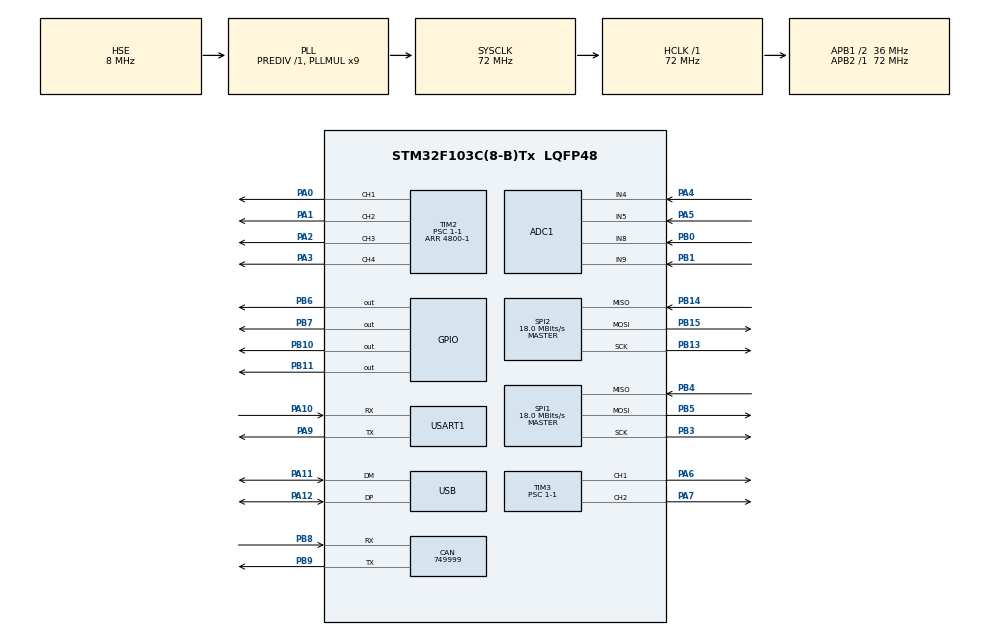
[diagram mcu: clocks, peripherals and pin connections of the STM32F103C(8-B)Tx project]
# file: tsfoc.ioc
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ADC1.Channel-0\#ChannelRegularConversion=ADC_CHANNEL_4
ADC1.Channel-1\#ChannelRegularConversion=ADC_CHANNEL_5
ADC1.Channel-2\#ChannelRegularConversion=ADC_CHANNEL_8
ADC1.Channel-3\#ChannelRegularConversion=ADC_CHANNEL_9
ADC1.ContinuousConvMode=ENABLE
ADC1.NbrOfConversion=4
ADC1.NbrOfConversionFlag=1
ADC1.Rank-0\#ChannelRegularConversion=1
ADC1.Rank-1\#ChannelRegularConversion=2
ADC1.Rank-2\#ChannelRegularConversion=3
ADC1.Rank-3\#ChannelRegularConversion=4
ADC1.SamplingTime-0\#ChannelRegularConversion=ADC_SAMPLETIME_7CYCLES_5
ADC1.SamplingTime-1\#ChannelRegularConversion=ADC_SAMPLETIME_7CYCLES_5
ADC1.SamplingTime-2\#ChannelRegularConversion=ADC_SAMPLETIME_7CYCLES_5
ADC1.SamplingTime-3\#ChannelRegularConversion=ADC_SAMPLETIME_7CYCLES_5
ADC1.master=1
CAN.CalculateBaudRate=749999
CAN.CalculateTimeBit=1333
CAN.CalculateTimeQuantum=444.44444444444446
Dma.ADC1.0.Direction=DMA_PERIPH_TO_MEMORY
Dma.ADC1.0.Instance=DMA1_Channel1
Dma.ADC1.0.MemDataAlignment=DMA_MDATAALIGN_HALFWORD
Dma.ADC1.0.MemInc=DMA_MINC_ENABLE
Dma.ADC1.0.Mode=DMA_CIRCULAR
Dma.ADC1.0.PeriphDataAlignment=DMA_PDATAALIGN_HALFWORD
Dma.ADC1.0.PeriphInc=DMA_PINC_DISABLE
Dma.ADC1.0.Priority=DMA_PRIORITY_LOW
Dma.Request0=ADC1
Dma.Request1=USART1_RX
Dma.Request2=SPI1_TX
Dma.Request3=SPI2_RX
Dma.SPI1_TX.2.Direction=DMA_MEMORY_TO_PERIPH
Dma.SPI1_TX.2.Instance=DMA1_Channel3
Dma.SPI1_TX.2.MemDataAlignment=DMA_MDATAALIGN_BYTE
Dma.SPI1_TX.2.MemInc=DMA_MINC_ENABLE
Dma.SPI1_TX.2.Mode=DMA_NORMAL
Dma.SPI1_TX.2.PeriphDataAlignment=DMA_PDATAALIGN_BYTE
Dma.SPI1_TX.2.PeriphInc=DMA_PINC_DISABLE
Dma.SPI1_TX.2.Priority=DMA_PRIORITY_LOW
Dma.SPI2_RX.3.Direction=DMA_PERIPH_TO_MEMORY
Dma.SPI2_RX.3.Instance=DMA1_Channel4
Dma.SPI2_RX.3.MemDataAlignment=DMA_MDATAALIGN_BYTE
Dma.SPI2_RX.3.MemInc=DMA_MINC_ENABLE
Dma.SPI2_RX.3.Mode=DMA_NORMAL
Dma.SPI2_RX.3.PeriphDataAlignment=DMA_PDATAALIGN_BYTE
Dma.SPI2_RX.3.PeriphInc=DMA_PINC_DISABLE
Dma.SPI2_RX.3.Priority=DMA_PRIORITY_LOW
Dma.USART1_RX.1.Direction=DMA_PERIPH_TO_MEMORY
Dma.USART1_RX.1.Instance=DMA1_Channel5
Dma.USART1_RX.1.MemDataAlignment=DMA_MDATAALIGN_BYTE
Dma.USART1_RX.1.MemInc=DMA_MINC_ENABLE
Dma.USART1_RX.1.Mode=DMA_NORMAL
Dma.USART1_RX.1.PeriphDataAlignment=DMA_PDATAALIGN_BYTE
Dma.USART1_RX.1.PeriphInc=DMA_PINC_DISABLE
Dma.USART1_RX.1.Priority=DMA_PRIORITY_LOW
Mcu.Family=STM32F1
Mcu.Name=STM32F103C(8-B)Tx
Mcu.Package=LQFP48
NVIC.ADC1_2_IRQn=true\:0\:0\:false\:false\:true\:true\:true\:true
NVIC.CAN1_RX1_IRQn=true\:0\:0\:false\:false\:true\:true\:true\:true
NVIC.DMA1_Channel1_IRQn=true\:0\:0\:false\:false\:true\:false\:true\:true
NVIC.DMA1_Channel3_IRQn=true\:0\:0\:false\:false\:true\:false\:true\:true
NVIC.DMA1_Channel4_IRQn=true\:0\:0\:false\:false\:true\:false\:true\:true
NVIC.DMA1_Channel5_IRQn=true\:0\:0\:false\:false\:true\:false\:true\:true
NVIC.PriorityGroup=NVIC_PRIORITYGROUP_4
NVIC.SPI1_IRQn=true\:0\:0\:false\:false\:true\:true\:true\:true
NVIC.SPI2_IRQn=true\:0\:0\:false\:false\:true\:true\:true\:true
NVIC.USART1_IRQn=true\:0\:0\:false\:false\:true\:true\:true\:true
PA0-WKUP.Signal=S_TIM2_CH1_ETR
PA1.Signal=S_TIM2_CH2
PA10.Mode=Asynchronous
PA10.Signal=USART1_RX
PA11.Mode=Device
PA11.Signal=USB_DM
PA12.Mode=Device
PA12.Signal=USB_DP
PA2.Signal=S_TIM2_CH3
PA3.Signal=S_TIM2_CH4
PA4.Signal=ADCx_IN4
PA5.Signal=ADCx_IN5
PA6.Signal=S_TIM3_CH1
PA7.Signal=S_TIM3_CH2
PA9.Mode=Asynchronous
PA9.Signal=USART1_TX
PB0.Signal=ADCx_IN8
PB1.Signal=ADCx_IN9
PB10.GPIO_ModeDefaultOutputPP=GPIO_MODE_OUTPUT_OD
PB10.GPIO_PuPd=GPIO_NOPULL
PB10.GPIO_Speed=GPIO_SPEED_FREQ_HIGH
PB10.Signal=GPIO_Output
PB11.GPIO_ModeDefaultOutputPP=GPIO_MODE_OUTPUT_OD
PB11.GPIO_PuPd=GPIO_NOPULL
PB11.GPIO_Speed=GPIO_SPEED_FREQ_HIGH
PB11.Signal=GPIO_Output
PB13.Mode=Full_Duplex_Master
PB13.Signal=SPI2_SCK
PB14.Mode=Full_Duplex_Master
PB14.Signal=SPI2_MISO
PB15.Mode=Full_Duplex_Master
PB15.Signal=SPI2_MOSI
PB3.Mode=Full_Duplex_Master
PB3.Signal=SPI1_SCK
PB4.Mode=Full_Duplex_Master
PB4.Signal=SPI1_MISO
PB5.Mode=Full_Duplex_Master
PB5.Signal=SPI1_MOSI
PB6.GPIO_ModeDefaultOutputPP=GPIO_MODE_OUTPUT_OD
PB6.GPIO_PuPd=GPIO_NOPULL
PB6.GPIO_Speed=GPIO_SPEED_FREQ_HIGH
PB6.Signal=GPIO_Output
PB7.GPIO_ModeDefaultOutputPP=GPIO_MODE_OUTPUT_OD
PB7.GPIO_PuPd=GPIO_NOPULL
PB7.GPIO_Speed=GPIO_SPEED_FREQ_HIGH
PB7.Signal=GPIO_Output
PB8.Mode=CAN_Activate
PB8.Signal=CAN_RX
PB9.Mode=CAN_Activate
PB9.Signal=CAN_TX
PD0-OSC_IN.Mode=HSE-External-Oscillator
PD0-OSC_IN.Signal=RCC_OSC_IN
PD1-OSC_OUT.Mode=HSE-External-Oscillator
PD1-OSC_OUT.Signal=RCC_OSC_OUT
ProjectManager.HeapSize=0x200
ProjectManager.StackSize=0x400
ProjectManager.TargetToolchain=MDK-ARM V5.32
RCC.ADCPresc=RCC_ADCPCLK2_DIV6
RCC.AHBFreq_Value=72000000
RCC.APB1CLKDivider=RCC_HCLK_DIV2
RCC.APB1Freq_Value=36000000
RCC.APB1TimFreq_Value=72000000
RCC.APB2Freq_Value=72000000
RCC.APB2TimFreq_Value=72000000
RCC.HCLKFreq_Value=72000000
RCC.PLLMUL=RCC_PLL_MUL9
RCC.PLLSourceVirtual=RCC_PLLSOURCE_HSE
RCC.SYSCLKFreq_VALUE=72000000
RCC.SYSCLKSource=RCC_SYSCLKSOURCE_PLLCLK
RCC.USBFreq_Value=48000000
RCC.USBPrescaler=RCC_USBCLKSOURCE_PLL_DIV1_5
SH.ADCx_IN4.0=ADC1_IN4,IN4
SH.ADCx_IN5.0=ADC1_IN5,IN5
SH.ADCx_IN8.0=ADC1_IN8,IN8
SH.ADCx_IN9.0=ADC1_IN9,IN9
SH.S_TIM2_CH1_ETR.0=TIM2_CH1,PWM Generation1 CH1
SH.S_TIM2_CH2.0=TIM2_CH2,PWM Generation2 CH2
SH.S_TIM2_CH3.0=TIM2_CH3,PWM Generation3 CH3
SH.S_TIM2_CH4.0=TIM2_CH4,PWM Generation4 CH4
SH.S_TIM3_CH1.0=TIM3_CH1,PWM Generation1 CH1
SH.S_TIM3_CH2.0=TIM3_CH2,PWM Generation2 CH2
SPI1.BaudRatePrescaler=SPI_BAUDRATEPRESCALER_4
SPI1.CalculateBaudRate=18.0 MBits/s
SPI1.Direction=SPI_DIRECTION_2LINES
SPI1.Mode=SPI_MODE_MASTER
SPI1.VirtualType=VM_MASTER
SPI2.CalculateBaudRate=18.0 MBits/s
SPI2.Direction=SPI_DIRECTION_2LINES
SPI2.Mode=SPI_MODE_MASTER
SPI2.VirtualType=VM_MASTER
TIM2.AutoReloadPreload=TIM_AUTORELOAD_PRELOAD_ENABLE
TIM2.Channel-PWM\ Generation1\ CH1=TIM_CHANNEL_1
TIM2.Channel-PWM\ Generation2\ CH2=TIM_CHANNEL_2
TIM2.Channel-PWM\ Generation3\ CH3=TIM_CHANNEL_3
TIM2.Channel-PWM\ Generation4\ CH4=TIM_CHANNEL_4
TIM2.Period=4800-1
TIM2.Prescaler=1-1
TIM3.AutoReloadPreload=TIM_AUTORELOAD_PRELOAD_ENABLE
TIM3.Channel-PWM\ Generation1\ CH1=TIM_CHANNEL_1
TIM3.Channel-PWM\ Generation2\ CH2=TIM_CHANNEL_2
TIM3.Period=4800-1
TIM3.Prescaler=1-1
USART1.VirtualMode=VM_ASYNC
VP_SYS_VS_ND.Mode=No_Debug
board=custom

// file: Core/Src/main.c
/* USER CODE BEGIN Header */
/**
  ******************************************************************************
  * @file           : main.c
  * @brief          : Main program body
  ******************************************************************************
  * @attention
  *
  * Copyright (c) 2024 STMicroelectronics.
  * All rights reserved.
  *
  * This software is licensed under terms that can be found in the LICENSE file
  * in the root directory of this software component.
  * If no LICENSE file comes with this software, it is provided AS-IS.
  *
  ******************************************************************************
  */
/* USER CODE END Header */
#include "main.h"
#include "adc.h"
#include "can.h"
#include "dma.h"
#include "spi.h"
#include "tim.h"
#include "usart.h"
#include "usb.h"
#include "gpio.h"

/* USER CODE BEGIN Includes */
#include "stdio.h"
#include "ts_foc.h"
#include "user_api.h"
#include "stdlib.h"
#include "stddef.h"
/* USER CODE END Includes */

/* USER CODE BEGIN PTD */
//Serial port redirection
#ifdef __GNUC__
#define PUTCHAR_PROTOTYPE int __io_putchar(int ch)
#else
#define PUTCHAR_PROTOTYPE int fputc(int ch, FILE *f)
#endif
PUTCHAR_PROTOTYPE
{
    HAL_UART_Transmit(&huart1 , (uint8_t *)&ch, 1, 0xFFFF);
    return ch;
}
/* USER CODE END PTD */

void SystemClock_Config(void);

int main(void)
{

  /* MCU Configuration--------------------------------------------------------*/

  /* Reset of all peripherals, Initializes the Flash interface and the Systick. */
  HAL_Init();

  /* Configure the system clock */
  SystemClock_Config();

  /* Initialize all configured peripherals */
  MX_GPIO_Init();
  MX_DMA_Init();
  MX_ADC1_Init();
  MX_USART1_UART_Init();
  MX_CAN_Init();
  MX_SPI1_Init();
  MX_TIM2_Init();
  MX_TIM3_Init();
  MX_USB_PCD_Init();
  MX_SPI2_Init();
  /* USER CODE BEGIN 2 */
  HAL_TIM_PWM_Start(&htim2,TIM_CHANNEL_1);
  HAL_TIM_PWM_Start(&htim2,TIM_CHANNEL_2);
  HAL_TIM_PWM_Start(&htim2,TIM_CHANNEL_3);
  HAL_TIM_PWM_Start(&htim2,TIM_CHANNEL_4);
  HAL_TIM_PWM_Start(&htim3,TIM_CHANNEL_1);
  HAL_TIM_PWM_Start(&htim3,TIM_CHANNEL_2);

  //实例化as5600传感器
  // As5600_Sensor_Typedef * As5600_Sensor1 = (As5600_Sensor_Typedef*) malloc(sizeof(As5600_Sensor_Typedef)*1);
  // As5600_Sensor1->Port = GPIOB;
  // As5600_Sensor1->SCL_PIN = GPIO_PIN_10;
  // As5600_Sensor1->SDA_PIN = GPIO_PIN_11;

  // As5600_Sensor_Typedef * As5600_Sensor2 = (As5600_Sensor_Typedef*) malloc(sizeof(As5600_Sensor_Typedef)*1);
  // As5600_Sensor2->Port = GPIOB;
  // As5600_Sensor2->SCL_PIN = GPIO_PIN_6;
  // As5600_Sensor2->SDA_PIN = GPIO_PIN_7;

  //初始化as5600传感器
  // AS5600_Init(As5600_Sensor1);
  // AS5600_Init(As5600_Sensor2);

  Motor* Motor1 = (Motor*)malloc(sizeof(Motor)*1);
  if (Motor1 == NULL)
  {
    printf("电机1内存申请失败\r\n");
    HAL_Delay(2000);
  }
  Motor1->As5600_Sensor = (As5600_Sensor_Typedef*) malloc(sizeof(As5600_Sensor_Typedef)*1);
  //Ualpha,Ubeta,Ua,Ub,Uc;
  Motor1->Ualpha = Motor1->Ubeta = Motor1->Ua = Motor1->Ub = Motor1->Uc = 0;
  Motor1->voltage_power_supply = 12.6;
  Motor1->PP = 7;
  Motor1->DIR = 1;
  Motor1->zero_electric_angle = 0;
  Motor1->As5600_Sensor->Port = GPIOB;
  Motor1->As5600_Sensor->SCL_PIN = GPIO_PIN_10;
  Motor1->As5600_Sensor->SDA_PIN = GPIO_PIN_11;
  Motor1->Motor_Set_Compare1 = Motor1_Set_Compare1;
  Motor1->Motor_Set_Compare2 = Motor1_Set_Compare2;
  Motor1->Motor_Set_Compare3 = Motor1_Set_Compare3;

  Motor* Motor2 = (Motor*)malloc(sizeof(Motor)*1);
  if (Motor2 == NULL)
  {
    printf("电机2内存申请失败\r\n");
    HAL_Delay(2000);
  }
  Motor2->As5600_Sensor = (As5600_Sensor_Typedef*) malloc(sizeof(As5600_Sensor_Typedef)*1);
  Motor2->Ualpha = Motor2->Ubeta = Motor2->Ua = Motor2->Ub = Motor2->Uc = 0;
  Motor2->voltage_power_supply = 12.6;
  Motor2->PP = 7;
  Motor2->DIR = 1;
  Motor2->zero_electric_angle = 0;
  Motor2->As5600_Sensor->Port = GPIOB;
  Motor2->As5600_Sensor->SCL_PIN = GPIO_PIN_6;
  Motor2->As5600_Sensor->SDA_PIN = GPIO_PIN_7;
  Motor2->Motor_Set_Compare1 = Motor2_Set_Compare1;
  Motor2->Motor_Set_Compare2 = Motor2_Set_Compare2;
  Motor2->Motor_Set_Compare3 = Motor2_Set_Compare3;

  //初始化as5600传感器
  AS5600_Init(Motor1->As5600_Sensor);
  AS5600_Init(Motor2->As5600_Sensor);

  printf("init_ok\r\n");
  /* USER CODE END 2 */
  HAL_Delay(1000);
  float Kp=0.133;
  int count = 0;
  /* Infinite loop */
  /* USER CODE BEGIN WHILE */
  while (1)
  {
    // AS5600_Sensor_update(As5600_Sensor1);
    // AS5600_Sensor_update(As5600_Sensor2);

    AS5600_Sensor_update(Motor1->As5600_Sensor);
    AS5600_Sensor_update(Motor2->As5600_Sensor);
    setTorque(Motor1, 3, _electricalAngle(Motor1));   //力矩闭环

    if(count++>100)
    {
      count = 0;
      printf("角度:%.2f,    速度:%.2f,    圈数:%4d \r\n",Motor1->As5600_Sensor->angle_prev,AS5600_getVelocity(Motor1->As5600_Sensor),Motor1->As5600_Sensor->full_rotations);
    }

    // printf("获取到的角度:%.2f,%.2f,%d,%d,%.2f,%.2f\r\n",As5600_Sensor1->angle_prev,As5600_Sensor2->angle_prev,As5600_Sensor1->full_rotations,As5600_Sensor2->full_rotations,AS5600_getVelocity(As5600_Sensor1),AS5600_getVelocity(As5600_Sensor2));
    // printf("----------------------------------------------------------\r\n");

    /* USER CODE END WHILE */

  }
}

void SystemClock_Config(void)
{
  RCC_OscInitTypeDef RCC_OscInitStruct = {0};
  RCC_ClkInitTypeDef RCC_ClkInitStruct = {0};
  RCC_PeriphCLKInitTypeDef PeriphClkInit = {0};

  /** Initializes the RCC Oscillators according to the specified parameters
  * in the RCC_OscInitTypeDef structure.
  */
  RCC_OscInitStruct.OscillatorType = RCC_OSCILLATORTYPE_HSE;
  RCC_OscInitStruct.HSEState = RCC_HSE_ON;
  RCC_OscInitStruct.HSEPredivValue = RCC_HSE_PREDIV_DIV1;
  RCC_OscInitStruct.HSIState = RCC_HSI_ON;
  RCC_OscInitStruct.PLL.PLLState = RCC_PLL_ON;
  RCC_OscInitStruct.PLL.PLLSource = RCC_PLLSOURCE_HSE;
  RCC_OscInitStruct.PLL.PLLMUL = RCC_PLL_MUL9;
  if (HAL_RCC_OscConfig(&RCC_OscInitStruct) != HAL_OK)
  {
    Error_Handler();
  }

  /** Initializes the CPU, AHB and APB buses clocks
  */
  RCC_ClkInitStruct.ClockType = RCC_CLOCKTYPE_HCLK|RCC_CLOCKTYPE_SYSCLK
                              |RCC_CLOCKTYPE_PCLK1|RCC_CLOCKTYPE_PCLK2;
  RCC_ClkInitStruct.SYSCLKSource = RCC_SYSCLKSOURCE_PLLCLK;
  RCC_ClkInitStruct.AHBCLKDivider = RCC_SYSCLK_DIV1;
  RCC_ClkInitStruct.APB1CLKDivider = RCC_HCLK_DIV2;
  RCC_ClkInitStruct.APB2CLKDivider = RCC_HCLK_DIV1;

  if (HAL_RCC_ClockConfig(&RCC_ClkInitStruct, FLASH_LATENCY_2) != HAL_OK)
  {
    Error_Handler();
  }
  PeriphClkInit.PeriphClockSelection = RCC_PERIPHCLK_ADC|RCC_PERIPHCLK_USB;
  PeriphClkInit.AdcClockSelection = RCC_ADCPCLK2_DIV6;
  PeriphClkInit.UsbClockSelection = RCC_USBCLKSOURCE_PLL_DIV1_5;
  if (HAL_RCCEx_PeriphCLKConfig(&PeriphClkInit) != HAL_OK)
  {
    Error_Handler();
  }
}

void Error_Handler(void)
{
  __disable_irq();
  while (1)
  {
  }
}
